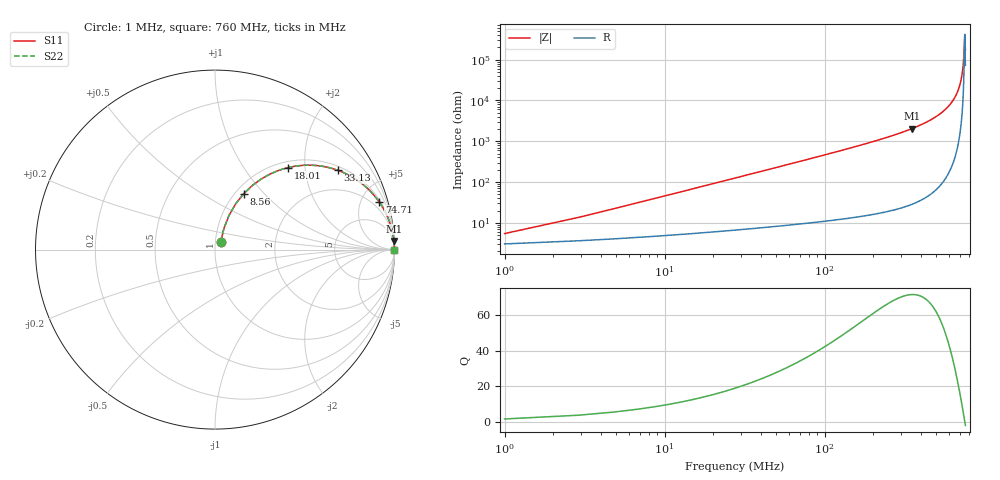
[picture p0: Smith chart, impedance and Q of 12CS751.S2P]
! Coilcraft 1206CS-751 Chip Inductor
! 29 July 2002
# MHZ S MA R 50
!Freq  MagS11  AngS11  MagS21  AngS21  MagS12  AngS12  MagS22  AngS22
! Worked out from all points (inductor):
!   403 points, 1 MHz to 760 MHz, reference 50 ohm
!   read as one part in series: L = 720 nH near 4.78 MHz
!   highest Q = 71.8 at 352.5 MHz (marker M1), where L = 922 nH
!   self-resonance near 753.2 MHz
!   S11 on the Smith chart (normalised r, x): 1 MHz: 1.06, +0.09; 8.56 MHz: 1.09, +0.77; 18.01 MHz: 1.12, +1.63; 33.13 MHz: 1.14, +3.00; 74.71 MHz: 1.19, +6.83; 760 MHz: open
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1  0.05285 53.6  0.9696 -2.5  0.9696 -2.5  0.05285 53.6
6.67  0.2807 65.6  0.9204 -16.1  0.9204 -16.1  0.2807 65.6
8.56  0.3496 62.8  0.8961 -20.3  0.8961 -20.3  0.3496 62.8
12.34  0.471 56.8  0.8399 -28.0  0.8399 -28.0  0.471 56.8
18.01  0.612 48.3  0.7488 -37.6  0.7488 -37.6  0.612 48.3
33.13  0.8152 32.8  0.5422 -54.5  0.5422 -54.5  0.8152 32.8
50.14  0.9039 23.3  0.3965 -64.6  0.3965 -64.6  0.9039 23.3
74.71  0.9525 16.2  0.2789 -72.2  0.2789 -72.2  0.9525 16.2
127.63  0.9828 9.5  0.1653 -79.3  0.1653 -79.3  0.9828 9.5
254.26  0.9959 4.4  0.07671 -84.7  0.07671 -84.7  0.9959 4.4
352.54  0.9981 2.8  0.04887 -86.4  0.04887 -86.4  0.9981 2.8
380.89  0.9985 2.5  0.04313 -86.7  0.04313 -86.7  0.9985 2.5
507.52  0.9993 1.4  0.02377 -87.7  0.02377 -87.7  0.9993 1.4
634.15  0.9997 0.6  0.01015 -87.8  0.01015 -87.8  0.9997 0.6
677.62  0.9997 0.4  0.006226 -87.2  0.006226 -87.2  0.9997 0.4
709.75  0.9997 0.2  0.003503 -85.6  0.003503 -85.6  0.9997 0.2
724.87  0.9997 0.1  0.002269 -83.5  0.002269 -83.5  0.9997 0.1
736.21  0.9998 0.1  0.001366 -79.5  0.001366 -79.5  0.9998 0.1
743.77  0.9998 0.0  0.0007834 -71.8  0.0007834 -71.8  0.9998 0.0
751.33  0.9998 0.0  0.0002853 -32.0  0.0002853 -32.0  0.9998 0.0
755.11  0.9998 -0.0  0.0002805 30.7  0.0002805 30.7  0.9998 -0.0
760  0.9998 -0.0  0.0005745 65.3  0.0005745 65.3  0.9998 -0.0
